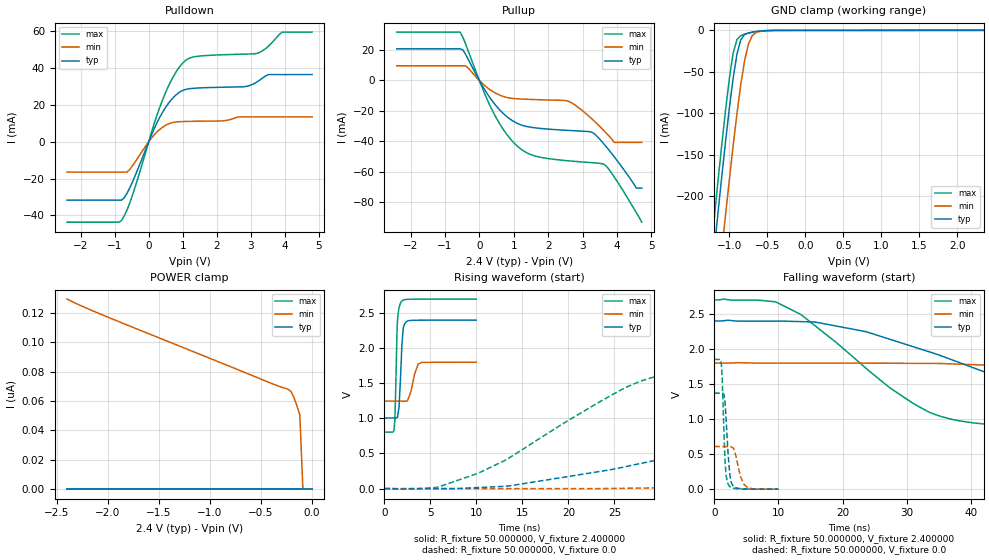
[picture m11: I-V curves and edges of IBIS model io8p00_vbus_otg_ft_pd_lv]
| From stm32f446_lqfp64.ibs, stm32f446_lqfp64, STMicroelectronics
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|   Model io8p00_vbus_otg_ft_pd_lv
[Model]  io8p00_vbus_otg_ft_pd_lv
Model_type I/O
Polarity   Non-Inverting
Enable   Active-Low
Vinl =   0.720000V
Vinh =   1.680000V
Vmeas =  1.200000V
Cref =   50.000000pF
Rref =   100.000000M
Vref =   0.0V
C_comp   3.193600pF   3.100000pF   3.332000pF
[Temperature Range]   25.000000   0.125000k   -40.000000
[Pullup Reference]   2.400000V   1.800000V   2.700000V
[Pulldown Reference]   0.0V   0.0V   0.0V
[POWER Clamp Reference]   2.400000V   1.800000V   2.700000V
[GND Clamp Reference]   0.0V   0.0V   0.0V
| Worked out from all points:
|   slope of the pulldown table from 0 to 0.36 V, typ, clamps not added: 25 ohm
|   slope of the pullup table from 0 to 0.36 V, typ, clamps not added: 27.7 ohm
|   GND clamp passes 1 mA (typ) near -0.61 V on its own axis
|   rising waveform, R_fixture 50.000000, V_fixture 2.400000: 20-80 % time 308ps typ, 629ps min, 213ps max; typ from 1 V to 2.4 V
|   rising waveform, R_fixture 50.000000, V_fixture 0.0: 20-80 % time 30.9ns typ, 73.2ns min, 14.3ns max; typ from 0 V to 1.37 V
|   falling waveform, R_fixture 50.000000, V_fixture 2.400000: 20-80 % time 29.2ns typ, 72.4ns min, 15.9ns max; typ from 2.4 V to 1 V
|   falling waveform, R_fixture 50.000000, V_fixture 0.0: 20-80 % time 573ps typ, 1.04ns min, 435ps max; typ from 1.37 V to 0 V
[Pulldown]
|Voltage   I(typ)   I(min)   I(max)
-2.4V     -31.69mA   -16.5mA    -43.66mA
-800mV    -31.69mA   -16.5mA    -42.82mA
-480mV    -21.96mA   -13.17mA   -29.19mA
80mV      3.63mA     1.966mA    5.014mA
480mV     18.15mA    8.738mA    26.02mA
800mV     25.38mA    10.72mA    37.77mA
1.12V     28.53mA    11.02mA    44.6mA
2.8V      29.84mA    13.49mA    47.53mA
3.2V      32.65mA    13.49mA    48.04mA
3.52V     36.42mA    13.49mA    51.83mA
3.92V     36.42mA    13.49mA    59.49mA
4.8V      36.42mA    13.49mA    59.49mA
[Pullup]
|Voltage   I(typ)   I(min)   I(max)
-2.4V     20.89mA    9.659mA    31.9mA
-560mV    20.89mA    9.659mA    31.9mA
-400mV    17.28mA    9.659mA    24.07mA
320mV     -11.75mA   -6.207mA   -17.08mA
960mV     -26.47mA   -11.82mA   -40.02mA
1.52V     -30.88mA   -12.51mA   -49.05mA
2.56V     -32.88mA   -13.49mA   -52.9mA
3.28V     -34.19mA   -25.52mA   -54.18mA
3.6V      -41.31mA   -32.61mA   -54.99mA
3.92V     -50.32mA   -40.8mA    -63.62mA
4.56V     -70.9mA    -40.8mA    -87.08mA
4.72V     -70.9mA    -40.8mA    -93.4mA
[GND_clamp]
|Voltage   I(typ)   I(min)   I(max)
-2.4V     -1.425A    -1.509A    -1.394A
-1.25V    -311.3mA   -401.9mA   -273.4mA
-1.2V     -265.5mA   -356.1mA   -227.3mA
-1.15V    -220.5mA   -310.9mA   -182mA
-1.1V     -176.4mA   -266.2mA   -138mA
-1.05V    -133.9mA   -222.5mA   -96.06mA
-950mV    -57.51mA   -139mA     -27.36mA
-900mV    -28.55mA   -100.5mA   -11.04mA
-850mV    -11.34mA   -65.68mA   -6.337mA
-750mV    -3.08mA    -16.7mA    -3.439mA
-600mV    -875.9uA   -1.303mA   -865.8uA
2.35V     58.09uA    37.92uA    67.25uA
[POWER_clamp]
|Voltage   I(typ)   I(min)   I(max)
-2.4V     0A         129.4nA    0A
-1.98V    0A         116.5nA    0A
-390mV    0A         71.78nA    0A
-240mV    0A         68.22nA    0A
-210mV    0A         66.81nA    0A
-180mV    0A         62.95nA    0A
-120mV    0A         50.47nA    0A
-90mV     0A         0A         0A
0V        0A         0A         0A
[Ramp]
| variable   typ   min   max
dV/dt_r  0.82260/30.94244n   0.36140/74.97211n   1.11030/14.32896n
dV/dt_f  0.83676/29.17719n   0.32730/74.00893n   1.13690/15.88912n
R_load = 50.000000
[Rising Waveform]
R_fixture= 50.000000
V_fixture= 2.400000
V_fixture_min= 1.800000
V_fixture_max= 2.700000
|time   V(typ)   V(min)   V(max)
0s        1.005V     1.245V     804.1mV
1.041ns   1.005V     1.245V     837.6mV
1.141ns   1.005V     1.246V     1.038V
1.401ns   1.014V     1.246V     2.36V
1.582ns   1.161V     1.246V     2.571V
1.822ns   1.827V     1.246V     2.661V
2.042ns   2.287V     1.245V     2.685V
2.442ns   2.381V     1.247V     2.694V
3.684ns   2.398V     1.775V     2.697V
9.97ns    2.399V     1.799V     2.699V
[Rising Waveform]
R_fixture= 50.000000
V_fixture= 0.0
V_fixture_min= 0.0
V_fixture_max= 0.0
|time   V(typ)   V(min)   V(max)
0s        6.131nV    367.2nV    2.475nV
5.506ns   -152.7uV   -164.9uV   14.98mV
10.01ns   13.97mV    -63.46uV   210.4mV
28.03ns   362.8mV    7.604mV    1.537V
34.03ns   533.3mV    17.5mV     1.705V
41.04ns   755.7mV    29.04mV    1.78V
60.56ns   1.184V     78.77mV    1.835V
80.58ns   1.317V     190.3mV    1.849V
149.6ns   1.367V     510.1mV    1.851V
249.2ns   1.369V     608.5mV    1.851V
[Falling Waveform]
R_fixture= 50.000000
V_fixture= 2.400000
V_fixture_min= 1.800000
V_fixture_max= 2.700000
|time   V(typ)   V(min)   V(max)
0s        2.399V     1.799V     2.699V
9.51ns    2.397V     1.798V     2.673V
13.51ns   2.39V      1.798V     2.49V
23.52ns   2.248V     1.797V     1.733V
33.03ns   1.972V     1.794V     1.118V
44.04ns   1.609V     1.763V     910mV
59.56ns   1.247V     1.712V     849mV
87.09ns   1.073V     1.557V     817mV
137.6ns   1.017V     1.35V      805.4mV
249.2ns   1.005V     1.245V     804.1mV
[Falling Waveform]
R_fixture= 50.000000
V_fixture= 0.0
V_fixture_min= 0.0
V_fixture_max= 0.0
|time   V(typ)   V(min)   V(max)
0s        1.369V     608.5mV    1.851V
1.061ns   1.369V     608.4mV    1.819V
1.241ns   1.369V     608.4mV    1.583V
1.682ns   1.236V     608.2mV    421.6mV
2.202ns   462.8mV    608.3mV    66.22mV
2.523ns   155.8mV    609.2mV    30.85mV
3.123ns   31.84mV    546.8mV    11.48mV
4.124ns   6.454mV    173.6mV    2.831mV
5.245ns   1.556mV    18.75mV    236.3uV
9.97ns    6.131nV    367.2nV    2.475nV
